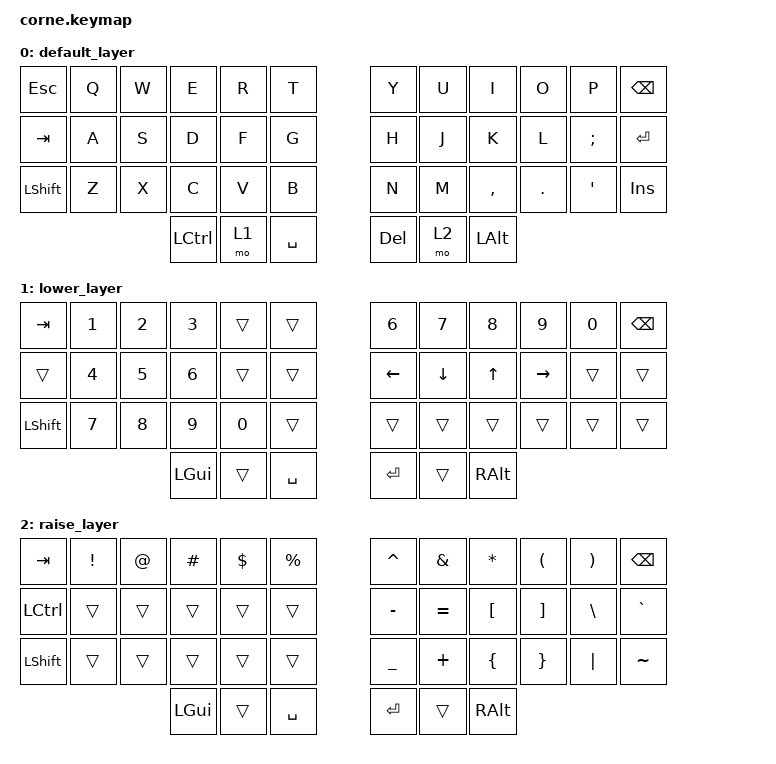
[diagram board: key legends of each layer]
/*
 * Copyright (c) 2020 The ZMK Contributors
 *
 * SPDX-License-Identifier: MIT
 */

#include <behaviors.dtsi>
#include <dt-bindings/zmk/keys.h>
#include <dt-bindings/zmk/bt.h>

/ {
        keymap {
                compatible = "zmk,keymap";

                default_layer {
// -----------------------------------------------------------------------------------------
// |  TAB |  Q  |  W  |  E  |  R  |  T  |   |  Y  |  U   |  I  |  O  |  P  | BSPC |
// | CTRL |  A  |  S  |  D  |  F  |  G  |   |  H  |  J   |  K  |  L  |  ;  |  '   |
// | SHFT |  Z  |  X  |  C  |  V  |  B  |   |  N  |  M   |  ,  |  .  |  /  | ESC  |
//                    | GUI | LWR | SPC |   | ENT | RSE  | ALT |
                        bindings = <
   &kp ESC    &kp Q  &kp W  &kp E      &kp R  &kp T        &kp Y    &kp U  &kp I      &kp O    &kp P     &kp BSPC
&kp TAB    &kp A  &kp S  &kp D      &kp F  &kp G        &kp H    &kp J  &kp K      &kp L    &kp SEMI  &kp RET
&kp LSHFT  &kp Z  &kp X  &kp C      &kp V  &kp B        &kp N    &kp M  &kp COMMA  &kp DOT  &kp SQT   &kp INSERT
                         &kp LCTRL  &mo 1  &kp SPACE    &kp DEL  &mo 2  &kp LALT
                        >;
                };
                lower_layer {
// -----------------------------------------------------------------------------------------
// |  TAB |  1  |  2  |  3  |  4  |  5  |   |  6  |  7  |  8  |  9  |  0  | BSPC |
// | BTCLR| BT1 | BT2 | BT3 | BT4 | BT5 |   | LFT | DWN |  UP | RGT |     |      |
// | SHFT |     |     |     |     |     |   |     |     |     |     |     |      |
//                    | GUI |     | SPC |   | ENT |     | ALT |
                        bindings = <
   &kp TAB    &kp N1       &kp N2       &kp N3       &trans        &trans          &kp N6   &kp N7   &kp N8 &kp N9    &kp N0 &kp BSPC
   &trans     &kp N4       &kp N5       &kp N6       &trans        &trans          &kp LEFT &kp DOWN &kp UP &kp RIGHT &trans &trans
   &kp LSHFT  &kp N7       &kp N8       &kp N9       &kp N0        &trans          &trans   &trans   &trans &trans    &trans &trans
                                        &kp LGUI     &trans        &kp SPACE       &kp RET  &trans   &kp RALT
                        >;
                };

                raise_layer {
// -----------------------------------------------------------------------------------------
// |  TAB |  !  |  @  |  #  |  $  |  %  |   |  ^  |  &  |  *  |  (  |  )  | BSPC |
// | CTRL |     |     |     |     |     |   |  -  |  =  |  [  |  ]  |  \  |  `   |
// | SHFT |     |     |     |     |     |   |  _  |  +  |  {  |  }  | "|" |  ~   |
//                    | GUI |     | SPC |   | ENT |     | ALT |
                        bindings = <
   &kp  TAB  &kp EXCL &kp AT &kp HASH &kp DLLR &kp PRCNT   &kp CARET &kp AMPS  &kp ASTRK &kp LPAR &kp RPAR &kp BSPC
   &kp LCTRL &trans   &trans &trans   &trans   &trans      &kp MINUS &kp EQUAL &kp LBKT  &kp RBKT &kp BSLH &kp GRAVE
   &kp LSHFT &trans   &trans &trans   &trans   &trans      &kp UNDER &kp PLUS  &kp LBRC  &kp RBRC &kp PIPE &kp TILDE
                             &kp LGUI &trans   &kp SPACE   &kp RET   &trans    &kp RALT
                        >;
                };
        };
};
